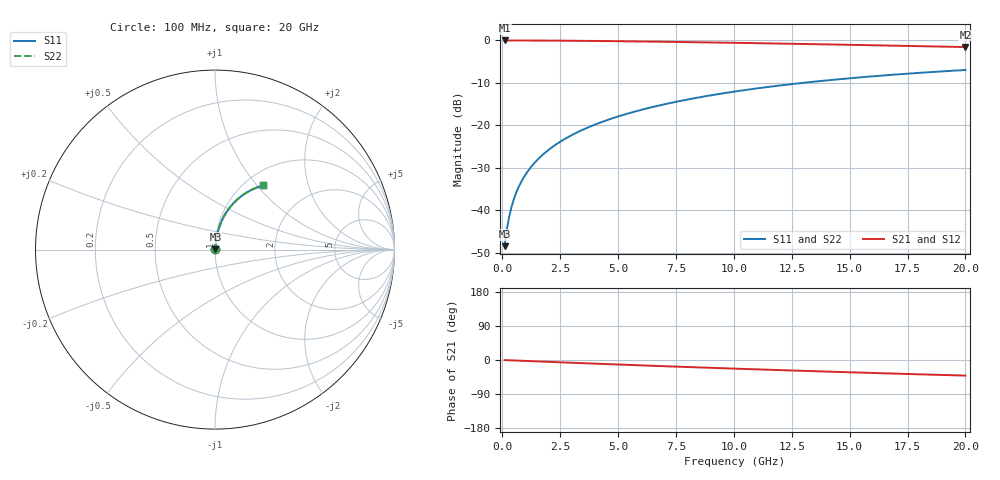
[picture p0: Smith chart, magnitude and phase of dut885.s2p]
! Touchstone file exported from HFSS 2024.1.0
!  File:  C:/UserFiles/LocalFiles/RDL_TSV_Batchsim/temp_RDL_bottom_885_1779865672.aedt
!  Generated:  03:10:17 PM May 27, 2026
!  Design:  RDL_bottom
!  Project:  temp_RDL_bottom_885_1779865672
!  Setup:  Setup1
!  Solution:  Sweep
! Variables:
!  dtsv = 10.80580581um
!  hbump = 3um
!  htsv = 81.18um
!  ldown = 525.95um
!  lrdl = 100um
!  p = 40
!  p1 = 56.61um
!  rhole = 1um
!  t = 450um
!  tdown = 4.91um
!  trdl = 3.915915916um
!  wdown = 14.71um
!  wrdl = 20um
# GHz S MA R 50.000000
! Terminal data exported
! Port[1] = RDL1_T1
! Port[2] = RDL1_T2
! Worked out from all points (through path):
!   200 points, 100 MHz to 20 GHz, reference 50 ohm
!   highest |S21| = -0.02 dB at 100 MHz (marker M1); lowest = -1.6 dB at 20 GHz (marker M2)
!   group delay of S21, straight-line fit = 5.7 ps
!   lowest |S11| = -48.5 dB at 100 MHz (marker M3), VSWR 1.01, Z = 50.3 + j0.267 ohm
!   |S11| at or under -10 dB: start of sweep to 13.01 GHz
!   |S22| runs from -48.5 to -7.0 dB; largest |S21 - S12| = 2.6e-15
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0.1  0.003766 44.9  0.9973 -0.3  0.9973 -0.3  0.003766 44.9
! Gamma 0 0 0 0
! Port Impedance 50 0 50 0
0.2  0.005966 62.7  0.9972 -0.5  0.9972 -0.5  0.005966 62.7
0.3  0.008424 70.4  0.9971 -0.8  0.9971 -0.8  0.008424 70.4
0.4  0.01095 74.3  0.997 -1.0  0.997 -1.0  0.01095 74.3
0.5  0.0135 76.7  0.9968 -1.2  0.9968 -1.2  0.0135 76.7
0.7  0.01859 79.3  0.9965 -1.7  0.9965 -1.7  0.01858 79.3
0.8  0.02112 80.1  0.9964 -2.0  0.9964 -2.0  0.02112 80.1
1  0.02617 81.1  0.996 -2.5  0.996 -2.5  0.02617 81.1
1.2  0.03121 81.7  0.9956 -2.9  0.9956 -2.9  0.03121 81.7
1.4  0.03625 82.1  0.9952 -3.4  0.9952 -3.4  0.03625 82.1
1.7  0.0438 82.4  0.9943 -4.2  0.9943 -4.2  0.0438 82.4
2  0.05136 82.5  0.9934 -4.9  0.9934 -4.9  0.05136 82.5
2.7  0.06901 82.2  0.9907 -6.6  0.9907 -6.6  0.06901 82.2
3.5  0.08918 81.4  0.9868 -8.5  0.9868 -8.5  0.08918 81.4
4.2  0.1068 80.5  0.9828 -10.1  0.9828 -10.1  0.1068 80.5
5  0.1269 79.3  0.9776 -11.9  0.9776 -11.9  0.1269 79.3
6.8  0.1717 76.4  0.9642 -16.0  0.9642 -16.0  0.1717 76.4
8.4  0.2107 73.6  0.9507 -19.4  0.9507 -19.4  0.2108 73.6
10.1  0.2511 70.5  0.9352 -22.9  0.9352 -22.9  0.2511 70.5
13.4  0.3247 64.4  0.9027 -29.4  0.9027 -29.4  0.3247 64.4
16.7  0.3905 58.5  0.8686 -35.5  0.8686 -35.5  0.3906 58.5
20  0.4478 53.0  0.8342 -41.1  0.8342 -41.1  0.448 53.0
